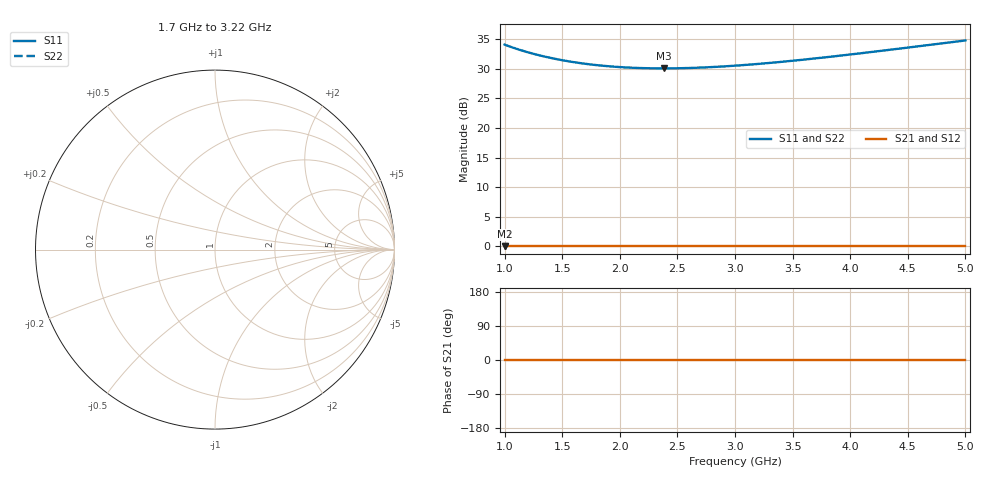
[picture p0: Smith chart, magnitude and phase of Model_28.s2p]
# GHZ S RI R 50
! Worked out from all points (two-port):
!   401 points, 1 GHz to 5 GHz, reference 50 ohm
!   highest |S21| = 0.00 dB at 1 GHz (marker M1); lowest = 0.0 dB at 1 GHz (marker M2)
!   |S21| within 3 dB of the highest: start of sweep to end of sweep
!   lowest |S11| = 30.1 dB at 2.38 GHz (marker M3)
!   |S11| at or under -10 dB: nowhere
!   |S22| runs from 30.1 to 34.8 dB; largest |S21 - S12| = 0
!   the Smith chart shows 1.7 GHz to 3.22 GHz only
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1  50.72 0  1 0  1 0  50.72 0
1.02  49.88 0  1 0  1 0  49.88 0
1.15  45.24 0  1 0  1 0  45.24 0
1.22  43.22 0  1 0  1 0  43.22 0
1.3  41.24 0  1 0  1 0  41.24 0
1.38  39.54 0  1 0  1 0  39.54 0
1.47  37.93 0  1 0  1 0  37.93 0
1.57  36.45 0  1 0  1 0  36.45 0
1.67  35.25 0  1 0  1 0  35.25 0
1.82  33.87 0  1 0  1 0  33.87 0
1.98  32.86 0  1 0  1 0  32.86 0
2.15  32.22 0  1 0  1 0  32.22 0
2.34  31.95 0  1 0  1 0  31.95 0
2.38  31.94 0  1 0  1 0  31.94 0
2.68  32.38 0  1 0  1 0  32.38 0
3  33.67 0  1 0  1 0  33.67 0
3.33  35.74 0  1 0  1 0  35.74 0
3.67  38.55 0  1 0  1 0  38.55 0
4  41.87 0  1 0  1 0  41.87 0
4.34  45.84 0  1 0  1 0  45.84 0
4.64  49.79 0  1 0  1 0  49.79 0
5  55.05 0  1 0  1 0  55.05 0
